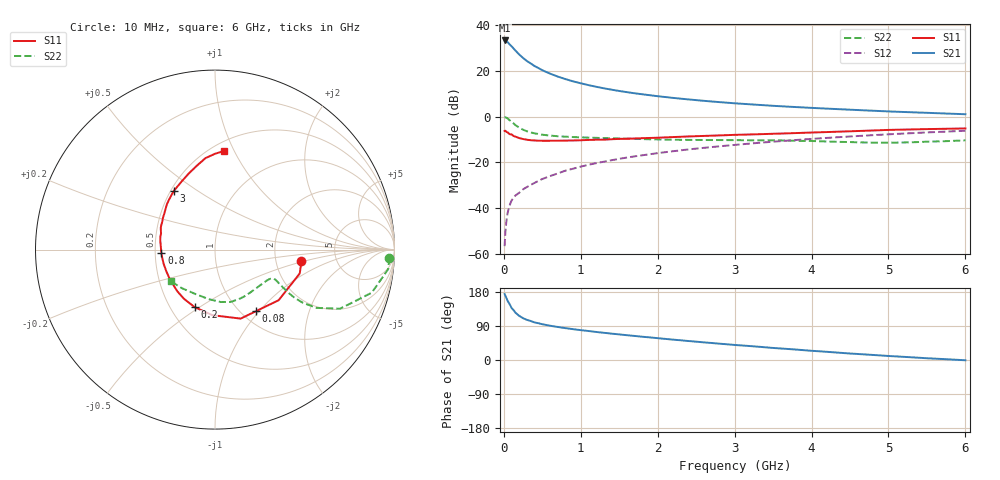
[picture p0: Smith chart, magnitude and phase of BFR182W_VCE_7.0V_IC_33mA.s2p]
! (c) 2017  Infineon Technologies AG, Munich
! Infineon Technologies  Discrete & RF Semiconductors
! BFR182W
! VCE =  7.0 V,  IC =  33 mA
! Common Emitter S-Parameters:  Jan 2017
# GHz  S  MA  R  50
!  f  S11  S21  S12  S22
! GHz  MAG  ANG  MAG  ANG  MAG  ANG  MAG  ANG
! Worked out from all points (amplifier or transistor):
!   77 points, 10 MHz to 6 GHz, reference 50 ohm
!   highest |S21| = 33.2 dB at 10 MHz (marker M1)
!   |S21| within 3 dB of that: start of sweep to 113.5 MHz
!   unconditionally stable (mu >= 1): 620.1 MHz to 2.223 GHz
!   at 130 MHz: K = 0.51, MSG = 32.4 dB, |S12| = -35.2 dB
!   at 2.2 GHz: K = 1.00, MAG = 11.4 dB, |S12| = -15.1 dB
!   at 6 GHz: K = 0.86, MSG = 3.6 dB, |S12| = -6.2 dB
!   S11 on the Smith chart (normalised r, x): 10 MHz: 2.80, -0.48; 80 MHz: 1.16, -0.96; 200 MHz: 0.66, -0.48; 800 MHz: 0.54, -0.02; 3 GHz: 0.52, +0.40; 6 GHz: 0.58, +0.91
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0.01  0.4859 -7.7  45.53 174.2  0.0015 79.8  0.9725 -2.7
0.02  0.4905 -15.7  45.26 169.6  0.003 95.5  0.9713 -6.4
0.05  0.4531 -38.5  41.76 155.6  0.0081 77.2  0.9056 -15.4
0.08  0.412 -56.5  36.73 145.5  0.0121 73.3  0.8212 -21.0
0.1  0.4101 -69.6  34.16 137.3  0.0148 71.9  0.77 -25.3
0.15  0.3658 -92.3  27.51 125.0  0.019 67.4  0.6534 -29.8
0.2  0.34 -109.5  22.5 116.5  0.0219 66.5  0.573 -31.2
0.25  0.3241 -122.3  18.92 110.3  0.026 66.7  0.5175 -31.2
0.3  0.3131 -132.1  16.2 105.9  0.0292 67.9  0.477 -30.5
0.4  0.3016 -146.2  12.58 99.1  0.0359 70.1  0.4301 -29.0
0.5  0.2968 -156.4  10.23 94.4  0.0436 71.3  0.4025 -27.8
0.6  0.2969 -164.6  8.632 90.5  0.0505 71.6  0.3851 -26.9
0.7  0.2974 -170.9  7.449 87.2  0.0575 72.8  0.3732 -26.4
0.8  0.2996 -176.5  6.562 84.1  0.0663 73.8  0.3646 -26.5
1.1  0.3096 170.3  4.846 76.5  0.089 73.2  0.348 -27.9
1.5  0.3262 157.8  3.61 67.6  0.1199 72.2  0.3325 -32.3
2.1  0.3513 142.6  2.663 55.7  0.1676 68.7  0.3149 -42.9
3  0.3996 125.0  1.947 39.7  0.2411 62.2  0.3067 -62.6
3.1  0.4033 123.2  1.898 38.3  0.2495 61.3  0.3055 -64.7
4.1  0.4542 107.5  1.517 23.0  0.3343 52.4  0.2895 -86.4
5.1  0.516 94.8  1.276 9.5  0.4184 42.6  0.271 -117.2
6  0.5513 84.9  1.124 -0.7  0.4902 33.3  0.3036 -144.7
